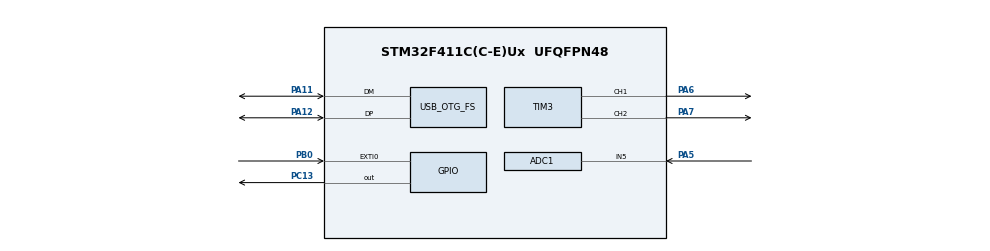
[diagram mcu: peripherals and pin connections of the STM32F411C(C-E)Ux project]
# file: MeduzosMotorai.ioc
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ADC1.Channel-0\#ChannelRegularConversion=ADC_CHANNEL_5
ADC1.NbrOfConversionFlag=1
ADC1.Rank-0\#ChannelRegularConversion=1
ADC1.SamplingTime-0\#ChannelRegularConversion=ADC_SAMPLETIME_3CYCLES
ADC1.master=1
Mcu.Family=STM32F4
Mcu.Name=STM32F411C(C-E)Ux
Mcu.Package=UFQFPN48
NVIC.EXTI0_IRQn=true\:0\:0\:false\:false\:true\:true\:true
NVIC.OTG_FS_IRQn=true\:0\:0\:false\:false\:true\:false\:true
NVIC.PriorityGroup=NVIC_PRIORITYGROUP_4
PA11.Mode=Device_Only
PA11.Signal=USB_OTG_FS_DM
PA12.Mode=Device_Only
PA12.Signal=USB_OTG_FS_DP
PA13.Mode=Serial_Wire
PA13.Signal=SYS_JTMS-SWDIO
PA14.Mode=Serial_Wire
PA14.Signal=SYS_JTCK-SWCLK
PA5.Signal=ADCx_IN5
PA6.Signal=S_TIM3_CH1
PA7.Signal=S_TIM3_CH2
PB0.GPIO_ModeDefaultEXTI=GPIO_MODE_IT_FALLING
PB0.GPIO_PuPd=GPIO_PULLUP
PB0.Signal=GPXTI0
PC13-ANTI_TAMP.Signal=GPIO_Output
PC14-OSC32_IN.Mode=LSE-External-Oscillator
PC14-OSC32_IN.Signal=RCC_OSC32_IN
PC15-OSC32_OUT.Mode=LSE-External-Oscillator
PC15-OSC32_OUT.Signal=RCC_OSC32_OUT
PH0\ -\ OSC_IN.Mode=HSE-External-Oscillator
PH0\ -\ OSC_IN.Signal=RCC_OSC_IN
PH1\ -\ OSC_OUT.Mode=HSE-External-Oscillator
PH1\ -\ OSC_OUT.Signal=RCC_OSC_OUT
ProjectManager.HeapSize=0x200
ProjectManager.StackSize=0x400
ProjectManager.TargetToolchain=STM32CubeIDE
RCC.48MHZClocksFreq_Value=48000000
RCC.AHBFreq_Value=96000000
RCC.APB1CLKDivider=RCC_HCLK_DIV16
RCC.APB1Freq_Value=6000000
RCC.APB1TimFreq_Value=12000000
RCC.APB2Freq_Value=96000000
RCC.APB2TimFreq_Value=96000000
RCC.CortexFreq_Value=96000000
RCC.HCLKFreq_Value=96000000
RCC.HSE_VALUE=25000000
RCC.HSI_VALUE=16000000
RCC.PLLM=25
RCC.SYSCLKFreq_VALUE=96000000
RCC.SYSCLKSource=RCC_SYSCLKSOURCE_PLLCLK
RCC.VCOOutputFreq_Value=192000000
SH.ADCx_IN5.0=ADC1_IN5,IN5
SH.S_TIM3_CH1.0=TIM3_CH1,PWM Generation1 CH1
SH.S_TIM3_CH2.0=TIM3_CH2,PWM Generation2 CH2
TIM3.Channel-PWM\ Generation1\ CH1=TIM_CHANNEL_1
TIM3.Channel-PWM\ Generation2\ CH2=TIM_CHANNEL_2
USB_DEVICE.APP_TX_DATA_SIZE=2048
USB_DEVICE.CLASS_NAME_FS=CDC
USB_DEVICE.MANUFACTURER_STRING=Tavo
USB_DEVICE.PRODUCT_STRING_CDC_FS=Mama
USB_DEVICE.VirtualMode=Cdc
USB_DEVICE.VirtualModeFS=Cdc_FS
USB_OTG_FS.VirtualMode=Device_Only
VP_USB_DEVICE_VS_USB_DEVICE_CDC_FS.Mode=CDC_FS
board=custom

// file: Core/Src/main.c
/* USER CODE BEGIN Header */
/*
 *
 */
/* USER CODE END Header */
#include "main.h"
#include "adc.h"
#include "tim.h"
#include "usb_device.h"
#include "gpio.h"

/* USER CODE BEGIN Includes */
#include "math.h"
#include "string.h"
#include "stdbool.h"
#include "usbd_cdc_if.h"
/* USER CODE END Includes */

/* USER CODE BEGIN PV */
bool usePotentiometer = false;
bool motorOn = false;
bool above = false;
int targetValue = 0;
bool blinkerOn = true;

uint8_t *buffer = NULL;

/* USER CODE END PV */

void SystemClock_Config(void);

/* USER CODE BEGIN 0 */
void Get_USB_Data (int currentValue) {
	if(CDC_IsDataReady()){
			if(buffer[0] == 'S'){
				motorOn = false;
				blinkerOn = !blinkerOn;
			}
			if(buffer[0] == 'R'){ //Rotate command
				blinkerOn = !blinkerOn;
				motorOn = true;

				int thousands = (uint8_t) buffer[2];
				int hundreads = (uint8_t) buffer[3];
				int tens = (uint8_t) buffer[4];
				int ones = (uint8_t) buffer[5];
				uint8_t degrees = thousands * 1000 + hundreads * 100 + tens * 10 + ones;
				targetValue = currentValue + degrees * 2.77777778;
				/*
				for(int i = 0; i < ones; i++){
					HAL_GPIO_TogglePin(GPIOC, GPIO_PIN_13);
					HAL_Delay(300);
					HAL_GPIO_TogglePin(GPIOC, GPIO_PIN_13);
										HAL_Delay(300);
				}
				*/

				/*
				if(buffer[2] == 'L'){ //Turn left

					above = false;
					targetValue += degrees * 2.77777778; //4095 - 10kOhm - 3600degrees; 1 degree - 2.77777778Ohm
				}
				else if(buffer[2] == 'R'){ //Turn right
					above = true;
					targetValue -= degrees * 2.77777778;
				}
				else{
					int thousands = (uint8_t) buffer[1];
					int hundreads = (uint8_t) buffer[2];
					int tens = (uint8_t) buffer[3];
					int ones = (uint8_t) buffer[4];
					int degrees = thousands * 1000 + hundreads * 100 + tens * 10 + ones;
					targetValue = currentValue + degrees * 2.77777778; //4095 - 10kOhm - 3600degrees; 1 degree - 2.77777778Ohm
				}
				*/
			}
		}
    CDC_FlushRxBuffer_FS();
}
/* USER CODE END 0 */

int main(void)
{
  /* USER CODE BEGIN 1 */
	uint16_t currentValue;
	char msg[10];
  /* USER CODE END 1 */

  /* MCU Configuration--------------------------------------------------------*/

  /* Reset of all peripherals, Initializes the Flash interface and the Systick. */
  HAL_Init();

  /* Configure the system clock */
  SystemClock_Config();

  /* Initialize all configured peripherals */
  MX_GPIO_Init();
  MX_USB_DEVICE_Init();
  MX_TIM3_Init();
  MX_ADC1_Init();
  /* USER CODE BEGIN 2 */
    HAL_TIM_PWM_Start(&htim3, TIM_CHANNEL_1);
    HAL_TIM_PWM_Start(&htim3, TIM_CHANNEL_2);

    buffer = CDC_GetRxBuffer_FS();
  /* USER CODE END 2 */

  /* Infinite loop */
    while (1) {

    /* USER CODE BEGIN 3 */
    	//Get potentiometer value, 10k, 10 rotations
    	HAL_ADC_Start(&hadc1);
    	HAL_ADC_PollForConversion(&hadc1, HAL_MAX_DELAY);
    	currentValue = HAL_ADC_GetValue(&hadc1);

    	//Check usb data
    	if(usePotentiometer){
    		if(motorOn){
    			Get_USB_Data(currentValue);
    		}
    	}else{
    		Get_USB_Data(currentValue);
    	}

    	if(usePotentiometer){ //Check if potentioemeter is already at target value
    	    if(above && currentValue >= targetValue){
    	    	motorOn = false;
    	    }
    	    if(!above && currentValue <= targetValue){
    	    	motorOn = false;
    	    }
    	}

    	if(motorOn){ //Setup motor power
    		if(above){
    			TIM3->CCR1 = TIM3->ARR;
    			TIM3->CCR2 = 0;
    		}
    		else{
    			TIM3->CCR2 = TIM3->ARR;
    			TIM3->CCR1 = 0;
    		}
    	}
    	else{
    		TIM3->CCR1 = 0;
    		TIM3->CCR2 = 0;
    	}

    	//Sviesytes junginejimas testui
    	if(blinkerOn){
			//HAL_GPIO_TogglePin(GPIOC, GPIO_PIN_13);
    	}
    	HAL_Delay(100);
    }

  /* USER CODE END 3 */
}

void SystemClock_Config(void)
{
  LL_FLASH_SetLatency(LL_FLASH_LATENCY_3);
  while(LL_FLASH_GetLatency()!= LL_FLASH_LATENCY_3)
  {
  }
  LL_PWR_SetRegulVoltageScaling(LL_PWR_REGU_VOLTAGE_SCALE1);
  LL_RCC_HSE_Enable();

   /* Wait till HSE is ready */
  while(LL_RCC_HSE_IsReady() != 1)
  {

  }
  LL_RCC_PLL_ConfigDomain_SYS(LL_RCC_PLLSOURCE_HSE, LL_RCC_PLLM_DIV_25, 192, LL_RCC_PLLP_DIV_2);
  LL_RCC_PLL_ConfigDomain_48M(LL_RCC_PLLSOURCE_HSE, LL_RCC_PLLM_DIV_25, 192, LL_RCC_PLLQ_DIV_4);
  LL_RCC_PLL_Enable();

   /* Wait till PLL is ready */
  while(LL_RCC_PLL_IsReady() != 1)
  {

  }
  LL_RCC_SetAHBPrescaler(LL_RCC_SYSCLK_DIV_1);
  LL_RCC_SetAPB1Prescaler(LL_RCC_APB1_DIV_16);
  LL_RCC_SetAPB2Prescaler(LL_RCC_APB2_DIV_1);
  LL_RCC_SetSysClkSource(LL_RCC_SYS_CLKSOURCE_PLL);

   /* Wait till System clock is ready */
  while(LL_RCC_GetSysClkSource() != LL_RCC_SYS_CLKSOURCE_STATUS_PLL)
  {

  }
  LL_SetSystemCoreClock(96000000);

   /* Update the time base */
  if (HAL_InitTick (TICK_INT_PRIORITY) != HAL_OK)
  {
    Error_Handler();
  }
  LL_RCC_SetTIMPrescaler(LL_RCC_TIM_PRESCALER_TWICE);
}

void Error_Handler(void)
{
    __disable_irq();
    while (1) {
    }
}

/************************ (C) COPYRIGHT STMicroelectronics *****END OF FILE****/
